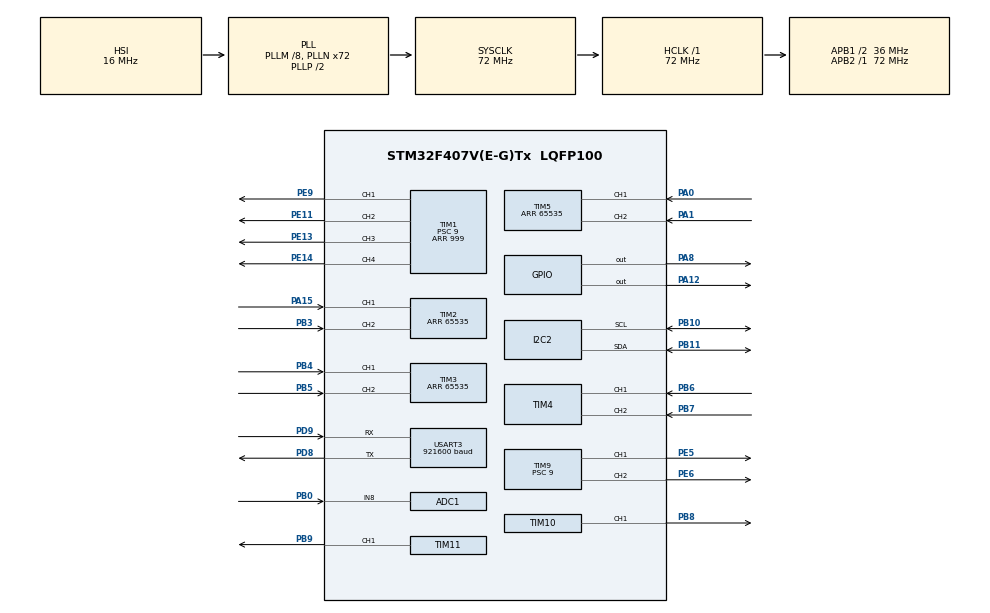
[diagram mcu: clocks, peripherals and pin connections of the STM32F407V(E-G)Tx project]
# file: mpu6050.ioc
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ADC1.Channel-0\#ChannelRegularConversion=ADC_CHANNEL_8
ADC1.NbrOfConversionFlag=1
ADC1.Rank-0\#ChannelRegularConversion=1
ADC1.SamplingTime-0\#ChannelRegularConversion=ADC_SAMPLETIME_3CYCLES
ADC1.master=1
FREERTOS.Mutexes01=robotMutex,Dynamic,NULL,Available
FREERTOS.Queues01=dataQueue,32,TxMessage_t,0,Dynamic,NULL,NULL;cmdQueue,32,uint8_t,0,Dynamic,NULL,NULL
FREERTOS.Tasks01=imuTask,32,600,StartimuTask,As weak,NULL,Dynamic,NULL,NULL;usartTask,8,600,StartUsartTask,As weak,NULL,Dynamic,NULL,NULL;cmdTask,24,600,StartcmdTask,As weak,NULL,Dynamic,NULL,NULL;motorTask,48,1024,StartmotorTask,As weak,NULL,Dynamic,NULL,NULL;battrytTask,8,128,StartbattyTask,As weak,NULL,Dynamic,NULL,NULL
Mcu.Family=STM32F4
Mcu.Name=STM32F407V(E-G)Tx
Mcu.Package=LQFP100
NVIC.PriorityGroup=NVIC_PRIORITYGROUP_4
NVIC.TIM8_TRG_COM_TIM14_IRQn=true\:15\:0\:false\:false\:true\:false\:false\:true\:true
NVIC.TimeBase=TIM8_TRG_COM_TIM14_IRQn
NVIC.TimeBaseIP=TIM14
NVIC.USART3_IRQn=true\:5\:0\:false\:false\:true\:true\:true\:true\:true
PA0-WKUP.Signal=S_TIM5_CH1
PA1.Signal=S_TIM5_CH2
PA12.Signal=GPIO_Output
PA13.Mode=Serial_Wire
PA13.Signal=SYS_JTMS-SWDIO
PA14.Mode=Serial_Wire
PA14.Signal=SYS_JTCK-SWCLK
PA15.Signal=S_TIM2_CH1_ETR
PA8.Signal=GPIO_Output
PB0.Signal=ADCx_IN8
PB10.Mode=I2C
PB10.Signal=I2C2_SCL
PB11.Mode=I2C
PB11.Signal=I2C2_SDA
PB3.Signal=S_TIM2_CH2
PB4.Signal=S_TIM3_CH1
PB5.Signal=S_TIM3_CH2
PB6.GPIO_PuPd=GPIO_NOPULL
PB6.Signal=S_TIM4_CH1
PB7.Signal=S_TIM4_CH2
PB8.Signal=S_TIM10_CH1
PB9.Signal=S_TIM11_CH1
PD8.Mode=Asynchronous
PD8.Signal=USART3_TX
PD9.Mode=Asynchronous
PD9.Signal=USART3_RX
PE11.Signal=S_TIM1_CH2
PE13.Signal=S_TIM1_CH3
PE14.Signal=S_TIM1_CH4
PE5.Signal=S_TIM9_CH1
PE6.Signal=S_TIM9_CH2
PE9.Signal=S_TIM1_CH1
PH0-OSC_IN.Mode=HSE-External-Oscillator
PH0-OSC_IN.Signal=RCC_OSC_IN
PH1-OSC_OUT.Mode=HSE-External-Oscillator
PH1-OSC_OUT.Signal=RCC_OSC_OUT
ProjectManager.HeapSize=0x200
ProjectManager.StackSize=0x400
ProjectManager.TargetToolchain=Makefile
RCC.48MHZClocksFreq_Value=36000000
RCC.AHBFreq_Value=72000000
RCC.APB1CLKDivider=RCC_HCLK_DIV2
RCC.APB1Freq_Value=36000000
RCC.APB1TimFreq_Value=72000000
RCC.APB2Freq_Value=72000000
RCC.APB2TimFreq_Value=72000000
RCC.CortexFreq_Value=72000000
RCC.HCLKFreq_Value=72000000
RCC.HSE_VALUE=8000000
RCC.HSI_VALUE=16000000
RCC.LSE_VALUE=32768
RCC.PLLM=8
RCC.PLLN=72
RCC.SYSCLKFreq_VALUE=72000000
RCC.SYSCLKSource=RCC_SYSCLKSOURCE_PLLCLK
RCC.VCOOutputFreq_Value=144000000
SH.ADCx_IN8.0=ADC1_IN8,IN8
SH.S_TIM10_CH1.0=TIM10_CH1,PWM Generation1 CH1
SH.S_TIM11_CH1.0=TIM11_CH1,PWM Generation1 CH1
SH.S_TIM1_CH1.0=TIM1_CH1,PWM Generation1 CH1
SH.S_TIM1_CH2.0=TIM1_CH2,PWM Generation2 CH2
SH.S_TIM1_CH3.0=TIM1_CH3,PWM Generation3 CH3
SH.S_TIM1_CH4.0=TIM1_CH4,PWM Generation4 CH4
SH.S_TIM2_CH1_ETR.0=TIM2_CH1,Encoder_Interface
SH.S_TIM2_CH2.0=TIM2_CH2,Encoder_Interface
SH.S_TIM3_CH1.0=TIM3_CH1,Encoder_Interface
SH.S_TIM3_CH2.0=TIM3_CH2,Encoder_Interface
SH.S_TIM4_CH1.0=TIM4_CH1,Encoder_Interface
SH.S_TIM4_CH2.0=TIM4_CH2,Encoder_Interface
SH.S_TIM5_CH1.0=TIM5_CH1,Encoder_Interface
SH.S_TIM5_CH2.0=TIM5_CH2,Encoder_Interface
SH.S_TIM9_CH1.0=TIM9_CH1,PWM Generation1 CH1
SH.S_TIM9_CH2.0=TIM9_CH2,PWM Generation2 CH2
TIM1.Channel-PWM\ Generation1\ CH1=TIM_CHANNEL_1
TIM1.Channel-PWM\ Generation2\ CH2=TIM_CHANNEL_2
TIM1.Channel-PWM\ Generation3\ CH3=TIM_CHANNEL_3
TIM1.Channel-PWM\ Generation4\ CH4=TIM_CHANNEL_4
TIM1.Period=999
TIM1.Prescaler=9
TIM10.Channel=TIM_CHANNEL_1
TIM10.OCPolarity_1=TIM_OCPOLARITY_HIGH
TIM10.Period=999
TIM10.Prescaler=9
TIM11.Channel=TIM_CHANNEL_1
TIM11.OCPolarity_1=TIM_OCPOLARITY_HIGH
TIM11.Period=999
TIM11.Prescaler=9
TIM2.EncoderMode=TIM_ENCODERMODE_TI12
TIM2.Period=65535
TIM3.CounterMode=TIM_COUNTERMODE_UP
TIM3.EncoderMode=TIM_ENCODERMODE_TI12
TIM3.Period=65535
TIM4.EncoderMode=TIM_ENCODERMODE_TI12
TIM5.CounterMode=TIM_COUNTERMODE_UP
TIM5.EncoderMode=TIM_ENCODERMODE_TI12
TIM5.Period=65535
TIM9.Channel-PWM\ Generation1\ CH1=TIM_CHANNEL_1
TIM9.Channel-PWM\ Generation2\ CH2=TIM_CHANNEL_2
TIM9.Period=999
TIM9.Prescaler=9
USART3.BaudRate=921600
USART3.VirtualMode=VM_ASYNC
VP_FREERTOS_VS_CMSIS_V2.Mode=CMSIS_V2
VP_SYS_VS_tim14.Mode=TIM14
VP_TIM10_VS_ClockSourceINT.Mode=Enable_Timer
VP_TIM11_VS_ClockSourceINT.Mode=Enable_Timer
board=custom

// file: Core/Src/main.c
/* USER CODE BEGIN Header */
/**
  ******************************************************************************
  * @file           : main.c
  * @brief          : Main program body
  ******************************************************************************
  * @attention
  *
  * Copyright (c) 2025 STMicroelectronics.
  * All rights reserved.
  *
  * This software is licensed under terms that can be found in the LICENSE file
  * in the root directory of this software component.
  * If no LICENSE file comes with this software, it is provided AS-IS.
  *
  ******************************************************************************
  */
/* USER CODE END Header */
#include "main.h"
#include "cmsis_os.h"
#include "adc.h"
#include "i2c.h"
#include "tim.h"
#include "usart.h"
#include "gpio.h"

/* USER CODE BEGIN Includes */
#include "robot_sys.h"
/* USER CODE END Includes */

void SystemClock_Config(void);
void MX_FREERTOS_Init(void);

int main(void)
{

  /* MCU Configuration--------------------------------------------------------*/

  /* Reset of all peripherals, Initializes the Flash interface and the Systick. */
  HAL_Init();

  /* Configure the system clock */
  SystemClock_Config();

  /* Initialize all configured peripherals */
  MX_GPIO_Init();
  MX_I2C2_Init();
  MX_USART3_UART_Init();
  MX_TIM1_Init();
  MX_TIM3_Init();
  MX_TIM5_Init();
  MX_TIM10_Init();
  MX_TIM11_Init();
  MX_ADC1_Init();
  MX_TIM2_Init();
  MX_TIM4_Init();
  MX_TIM9_Init();
  /* USER CODE BEGIN 2 */
  // ==========================================
  // 🤖 机器人开机声光自检 (Power-on Self-Test)
  // ==========================================
  // 第 1 声 "滴"
  HAL_GPIO_WritePin(GPIOA, GPIO_PIN_8, GPIO_PIN_SET);   // 蜂鸣器响
  HAL_Delay(50);                                       // 响 100 毫秒
  HAL_GPIO_WritePin(GPIOA, GPIO_PIN_8, GPIO_PIN_RESET); // 蜂鸣器灭

  HAL_Delay(50);                                       // 停顿 100 毫秒

  // 第 2 声 "滴"
  HAL_GPIO_WritePin(GPIOA, GPIO_PIN_8, GPIO_PIN_SET);
  HAL_Delay(50);
  HAL_GPIO_WritePin(GPIOA, GPIO_PIN_8, GPIO_PIN_RESET);

  // 自检结束，准备进入 RTOS 调度
  // ==========================================
  /* USER CODE END 2 */

  /* Init scheduler */
  osKernelInitialize();  /* Call init function for freertos objects (in cmsis_os2.c) */
  MX_FREERTOS_Init();

  /* Start scheduler */
  osKernelStart();

  /* We should never get here as control is now taken by the scheduler */

  /* Infinite loop */
  while (1)
  {

  }
}

void SystemClock_Config(void)
{
  RCC_OscInitTypeDef RCC_OscInitStruct = {0};
  RCC_ClkInitTypeDef RCC_ClkInitStruct = {0};

  /** Configure the main internal regulator output voltage
  */
  __HAL_RCC_PWR_CLK_ENABLE();
  __HAL_PWR_VOLTAGESCALING_CONFIG(PWR_REGULATOR_VOLTAGE_SCALE1);

  /** Initializes the RCC Oscillators according to the specified parameters
  * in the RCC_OscInitTypeDef structure.
  */
  RCC_OscInitStruct.OscillatorType = RCC_OSCILLATORTYPE_HSI;
  RCC_OscInitStruct.HSIState = RCC_HSI_ON;
  RCC_OscInitStruct.HSICalibrationValue = RCC_HSICALIBRATION_DEFAULT;
  RCC_OscInitStruct.PLL.PLLState = RCC_PLL_ON;
  RCC_OscInitStruct.PLL.PLLSource = RCC_PLLSOURCE_HSI;
  RCC_OscInitStruct.PLL.PLLM = 8;
  RCC_OscInitStruct.PLL.PLLN = 72;
  RCC_OscInitStruct.PLL.PLLP = RCC_PLLP_DIV2;
  RCC_OscInitStruct.PLL.PLLQ = 4;
  if (HAL_RCC_OscConfig(&RCC_OscInitStruct) != HAL_OK)
  {
    Error_Handler();
  }

  /** Initializes the CPU, AHB and APB buses clocks
  */
  RCC_ClkInitStruct.ClockType = RCC_CLOCKTYPE_HCLK|RCC_CLOCKTYPE_SYSCLK
                              |RCC_CLOCKTYPE_PCLK1|RCC_CLOCKTYPE_PCLK2;
  RCC_ClkInitStruct.SYSCLKSource = RCC_SYSCLKSOURCE_PLLCLK;
  RCC_ClkInitStruct.AHBCLKDivider = RCC_SYSCLK_DIV1;
  RCC_ClkInitStruct.APB1CLKDivider = RCC_HCLK_DIV2;
  RCC_ClkInitStruct.APB2CLKDivider = RCC_HCLK_DIV1;

  if (HAL_RCC_ClockConfig(&RCC_ClkInitStruct, FLASH_LATENCY_2) != HAL_OK)
  {
    Error_Handler();
  }
}

void HAL_TIM_PeriodElapsedCallback(TIM_HandleTypeDef *htim)
{
  if (htim->Instance == TIM14)
  {
    HAL_IncTick();
  }
}

void Error_Handler(void)
{
  __disable_irq();
  while (1)
  {
  }
}

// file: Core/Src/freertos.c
/* USER CODE BEGIN Header */
/**
  ******************************************************************************
  * File Name          : freertos.c
  * Description        : Code for freertos applications
  ******************************************************************************
  * @attention
  *
  * Copyright (c) 2025 STMicroelectronics.
  * All rights reserved.
  *
  * This software is licensed under terms that can be found in the LICENSE file
  * in the root directory of this software component.
  * If no LICENSE file comes with this software, it is provided AS-IS.
  *
  ******************************************************************************
  */
/* USER CODE END Header */

#include "FreeRTOS.h"
#include "task.h"
#include "main.h"
#include "cmsis_os.h"

/* USER CODE BEGIN Includes */

#include <stdio.h>
#include "usart.h"
#include "queue.h"
#include "robot_sys.h"
#include "mpu6050.h"
/* USER CODE END Includes */

/* USER CODE BEGIN PTD */
/**
 * @brief 重写 Newlib 的 _write 函数，实现 printf 重定向
 * @param file: 文件描述符 (1=stdout, 2=stderr)
 * @param data: 待发送数据缓冲区
 * @param len: 待发送数据长度
 * @retval 实际写入的字节数
 */
int _write(int file, char *data, int len)

{

HAL_UART_Transmit(&huart3, (uint8_t*)data, len, HAL_MAX_DELAY);

return len;

}
/* USER CODE END PTD */

/* USER CODE BEGIN PD */
/* 定义系统控制块 */

/* USER CODE END PD */

/* USER CODE BEGIN Variables */

// 全局变量的定义

/* 初始化默认值: 默认运行，50ms一次 */
Robot_State_t g_robot = {1, 20};
/* 接收缓冲区 (1字节) */

/* USER CODE END Variables */
/* Definitions for imuTask */
osThreadId_t imuTaskHandle;
const osThreadAttr_t imuTask_attributes = {
  .name = "imuTask",
  .stack_size = 600 * 4,
  .priority = (osPriority_t) osPriorityAboveNormal,
};
/* Definitions for usartTask */
osThreadId_t usartTaskHandle;
const osThreadAttr_t usartTask_attributes = {
  .name = "usartTask",
  .stack_size = 600 * 4,
  .priority = (osPriority_t) osPriorityLow,
};
/* Definitions for cmdTask */
osThreadId_t cmdTaskHandle;
const osThreadAttr_t cmdTask_attributes = {
  .name = "cmdTask",
  .stack_size = 600 * 4,
  .priority = (osPriority_t) osPriorityNormal,
};
/* Definitions for motorTask */
osThreadId_t motorTaskHandle;
const osThreadAttr_t motorTask_attributes = {
  .name = "motorTask",
  .stack_size = 1024 * 4,
  .priority = (osPriority_t) osPriorityRealtime,
};
/* Definitions for battrytTask */
osThreadId_t battrytTaskHandle;
const osThreadAttr_t battrytTask_attributes = {
  .name = "battrytTask",
  .stack_size = 128 * 4,
  .priority = (osPriority_t) osPriorityLow,
};
/* Definitions for dataQueue */
osMessageQueueId_t dataQueueHandle;
const osMessageQueueAttr_t dataQueue_attributes = {
  .name = "dataQueue"
};
/* Definitions for cmdQueue */
osMessageQueueId_t cmdQueueHandle;
const osMessageQueueAttr_t cmdQueue_attributes = {
  .name = "cmdQueue"
};
/* Definitions for robotMutex */
osMutexId_t robotMutexHandle;
const osMutexAttr_t robotMutex_attributes = {
  .name = "robotMutex"
};

void StartimuTask(void *argument);
void StartUsartTask(void *argument);
void StartcmdTask(void *argument);
void StartmotorTask(void *argument);
void StartbattyTask(void *argument);

void MX_FREERTOS_Init(void); /* (MISRA C 2004 rule 8.1) */

void MX_FREERTOS_Init(void) {
  /* Create the mutex(es) */
  /* creation of robotMutex */
  robotMutexHandle = osMutexNew(&robotMutex_attributes);

  /* Create the queue(s) */
  /* creation of dataQueue */
  dataQueueHandle = osMessageQueueNew (32, sizeof(TxMessage_t), &dataQueue_attributes);

  /* creation of cmdQueue */
  cmdQueueHandle = osMessageQueueNew (32, sizeof(uint8_t), &cmdQueue_attributes);

  /* Create the thread(s) */
  /* creation of imuTask */
  imuTaskHandle = osThreadNew(StartimuTask, NULL, &imuTask_attributes);

  /* creation of usartTask */
  usartTaskHandle = osThreadNew(StartUsartTask, NULL, &usartTask_attributes);

  /* creation of cmdTask */
  cmdTaskHandle = osThreadNew(StartcmdTask, NULL, &cmdTask_attributes);

  /* creation of motorTask */
  motorTaskHandle = osThreadNew(StartmotorTask, NULL, &motorTask_attributes);

  /* creation of battrytTask */
  battrytTaskHandle = osThreadNew(StartbattyTask, NULL, &battrytTask_attributes);

}

__weak void StartimuTask(void *argument)
{
  for(;;)
  {
    osDelay(1);
  }
}

__weak void StartUsartTask(void *argument)
{
  for(;;)
  {
    osDelay(1);
  }
}

__weak void StartcmdTask(void *argument)
{
  for(;;)
  {
    osDelay(1);
  }
}

__weak void StartmotorTask(void *argument)
{
  for(;;)
  {
    osDelay(1);
  }
}

__weak void StartbattyTask(void *argument)
{
  for(;;)
  {
    osDelay(1);
  }
}

/* USER CODE BEGIN Application */
/* 串口接收完成回调函数 */
uint8_t rx_buffer_byte;
void HAL_UART_RxCpltCallback(UART_HandleTypeDef *huart)
{
    if (huart->Instance == USART3) // 确认是哪个串口
    {
        BaseType_t xHigherPriorityTaskWoken = pdFALSE;

        // 把收到的这 1 个字节发送到 commandQueue
        // 注意：这是在中断里，要用 FromISR 版本
        xQueueSendFromISR(cmdQueueHandle, &rx_buffer_byte, &xHigherPriorityTaskWoken);

        // 重新开启中断接收下一个字节
        HAL_UART_Receive_IT(&huart3, &rx_buffer_byte, 1);

        // 如果唤醒了高优先级任务，进行上下文切换
        portYIELD_FROM_ISR(xHigherPriorityTaskWoken);
    }
}
/* USER CODE END Application */
